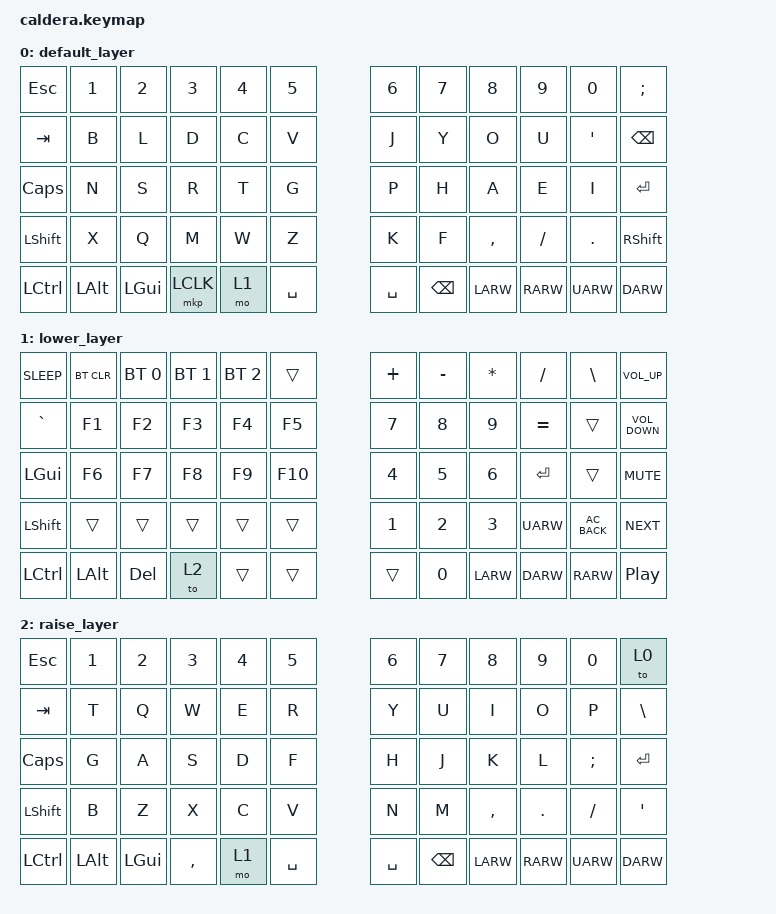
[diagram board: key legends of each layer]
#include <behaviors.dtsi>
#include <dt-bindings/zmk/keys.h>
#include <dt-bindings/zmk/bt.h>
#include <dt-bindings/zmk/pointing.h>

/ {
        keymap {
                compatible = "zmk,keymap";

                default_layer {

                        bindings = <
   &kp ESC    &kp N1    &kp N2    &kp N3     &kp N4     &kp N5               &kp N6     &kp N7   &kp N8     &kp N9    &kp N0    &kp SEMI
   &kp TAB    &kp B     &kp L     &kp D      &kp C      &kp V                &kp J      &kp Y    &kp O      &kp U     &kp APOS  &kp BSPC
   &kp CAPS   &kp N     &kp S     &kp R      &kp T      &kp G                &kp P      &kp H    &kp A      &kp E     &kp I     &kp RET
   &kp LSHFT  &kp X     &kp Q     &kp M      &kp W      &kp Z                &kp K      &kp F    &kp COMMA  &kp FSLH  &kp DOT   &kp RSHFT
   &kp LCTRL  &kp LALT  &kp LGUI  &mkp LCLK  &mo 1      &kp SPACE            &kp SPACE  &kp BSPC &kp LARW   &kp RARW  &kp UARW  &kp DARW
                        >;
                };


                lower_layer {

                        bindings = <
   &kp C_SLEEP &bt BT_CLR     &bt BT_SEL 0   &bt BT_SEL 1   &bt BT_SEL 2   &trans                 &kp PLUS  &kp MINUS &kp STAR &kp FSLH    &kp BSLH      &kp C_VOLUME_UP  
   &kp GRAVE   &kp F1         &kp F2         &kp F3         &kp F4         &kp F5                 &kp N7    &kp N8    &kp N9   &kp EQUAL   &trans        &kp C_VOLUME_DOWN
   &kp LGUI    &kp F6         &kp F7         &kp F8         &kp F9         &kp F10                &kp N4    &kp N5    &kp N6   &kp RET     &trans        &kp C_MUTE
   &kp LSHFT   &trans         &trans         &trans         &trans         &trans                 &kp N1    &kp N2    &kp N3   &kp UARW    &kp C_AC_BACK &kp C_NEXT
   &kp LCTRL   &kp LALT       &kp DEL        &to 2          &trans         &trans                 &trans    &kp N0    &kp LARW &kp DARW    &kp RARW      &kp C_PLAY_PAUSE 
                        >;
                };

                raise_layer {

                        bindings = <
   &kp ESC  &kp N1    &kp N2    &kp N3     &kp N4     &kp N5               &kp N6     &kp N7  &kp N8     &kp N9    &kp N0    &to 0
   &kp TAB  &kp T     &kp Q     &kp W     &kp E      &kp R                      &kp Y      &kp U   &kp I      &kp O     &kp P     &kp BSLH
   &kp CAPS &kp G     &kp A     &kp S     &kp D      &kp F                     &kp H      &kp J   &kp K      &kp L     &kp SEMI  &kp RET
   &kp LSHFT &kp B    &kp Z     &kp X     &kp C      &kp V                     &kp N      &kp M   &kp COMMA  &kp DOT   &kp FSLH  &kp APOS
   &kp LCTRL  &kp LALT  &kp LGUI  &kp COMMA  &mo 1    &kp SPACE            &kp SPACE  &kp BSPC   &kp LARW   &kp RARW  &kp UARW  &kp DARW
                        >;
                };

        };
};
